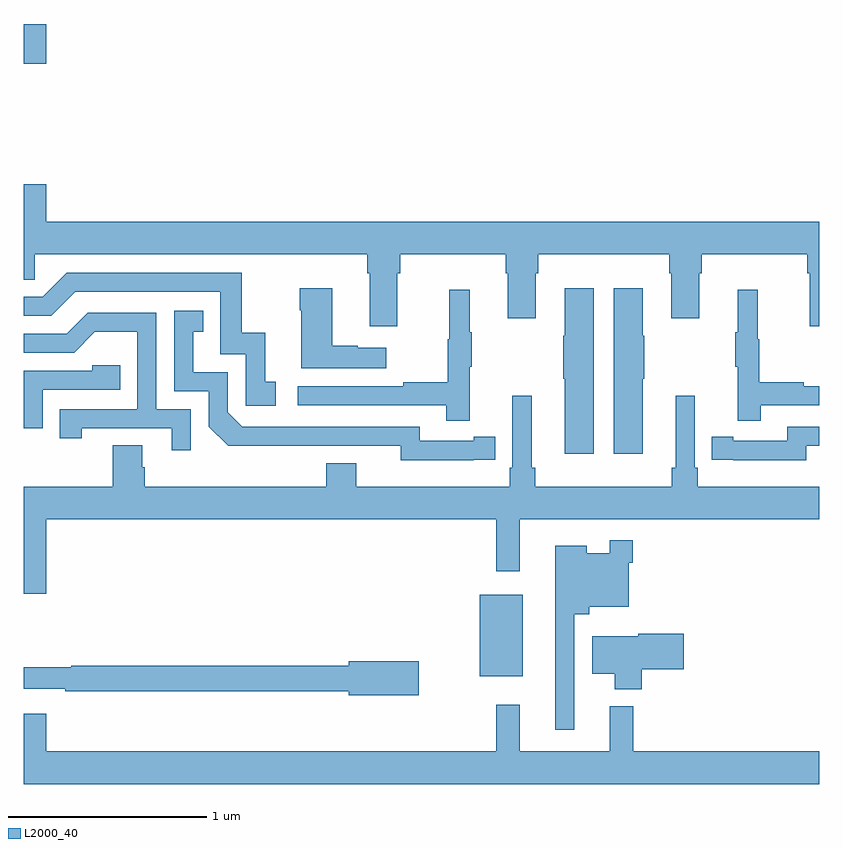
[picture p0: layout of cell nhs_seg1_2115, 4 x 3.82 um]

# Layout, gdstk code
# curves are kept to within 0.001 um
import gdstk
lib = gdstk.Library(unit=1e-6, precision=1e-09)
def R(c, l, rs):  # rectangles x0, y0, x1, y1
    for r in rs: c.add(gdstk.rectangle(r[:2], r[2:], *l))
def P(c, l, *ps):  # polygons
    for p in ps: c.add(gdstk.Polygon(p, *l))
L2000_40 = (2000, 40)

nhs_seg1_2115 = lib.new_cell('nhs_seg1_2115')
R(nhs_seg1_2115, L2000_40, [(227.294,574.919,227.509,575.329), (225,577.998,225.112,578.199)])
P(nhs_seg1_2115, L2000_40, [(226.879,576.944),(226.892,576.944),(226.892,577.04),(227.423,577.04),(227.423,576.944),(227.435,576.944),(227.435,576.72),(227.575,576.72),(227.575,576.944),(227.588,576.944),(227.588,577.04),(228.245,577.04),(228.245,576.944),(228.257,576.944),(228.257,576.72),(228.397,576.72),(228.397,576.944),(228.41,576.944),(228.41,577.04),(228.941,577.04),(228.941,576.944),(228.953,576.944),(228.953,576.678),(229,576.678),(229,577.204),(225.112,577.204),(225.112,577.393),(225,577.393),(225,576.913),(225.054,576.913),(225.054,577.04),(226.727,577.04),(226.727,576.944),(226.739,576.944),(226.739,576.678),(226.879,576.678)],
  [(226.267,576.399),(226.214,576.399),(226.214,576.646),(226.096,576.646),(226.096,576.948),(225.216,576.948),(225.096,576.828),(225,576.828),(225,576.732),(225.138,576.732),(225.258,576.852),(225.987,576.852),(225.987,576.537),(226.116,576.537),(226.116,576.279),(226.267,576.279)],
  [(228.112,576.415),(228.12,576.415),(228.12,576.632),(228.112,576.632),(228.112,576.871),(227.966,576.871),(227.966,576.036),(228.112,576.036)],
  [(227.866,576.871),(227.72,576.871),(227.72,576.632),(227.713,576.632),(227.713,576.415),(227.72,576.415),(227.72,576.036),(227.866,576.036)],
  [(226.822,576.571),(226.679,576.571),(226.679,576.581),(226.552,576.581),(226.552,576.871),(226.387,576.871),(226.387,576.758),(226.394,576.758),(226.394,576.467),(226.822,576.467)],
  [(228.707,576.282),(229,576.282),(229,576.378),(228.923,576.378),(228.923,576.398),(228.7,576.398),(228.7,576.612),(228.692,576.612),(228.692,576.862),(228.59,576.862),(228.59,576.649),(228.579,576.649),(228.579,576.475),(228.59,576.475),(228.59,576.204),(228.707,576.204)],
  [(227.243,576.475),(227.254,576.475),(227.254,576.649),(227.243,576.649),(227.243,576.862),(227.14,576.862),(227.14,576.612),(227.133,576.612),(227.133,576.398),(226.909,576.398),(226.909,576.378),(226.377,576.378),(226.377,576.282),(227.125,576.282),(227.125,576.204),(227.243,576.204)],
  [(227.264,576.006),(227.372,576.006),(227.372,576.122),(227.264,576.122),(227.264,576.102),(226.992,576.102),(226.992,576.174),(226.098,576.174),(226.026,576.246),(226.026,576.447),(225.853,576.447),(225.853,576.651),(225.902,576.651),(225.902,576.757),(225.756,576.757),(225.756,576.351),(225.93,576.351),(225.93,576.174),(226.028,576.077),(226.896,576.078),(226.896,576.005)],
  [(225.84,576.261),(225.666,576.261),(225.666,576.747),(225.32,576.747),(225.215,576.642),(225,576.642),(225,576.546),(225.252,576.546),(225.356,576.65),(225.57,576.65),(225.57,576.261),(225.181,576.261),(225.181,576.114),(225.292,576.114),(225.292,576.165),(225.743,576.165),(225.743,576.054),(225.84,576.054)],
  [(225.096,576.36),(225.485,576.36),(225.485,576.483),(225.345,576.483),(225.345,576.456),(225,576.456),(225,576.165),(225.096,576.165)],
  [(225.112,575.708),(227.377,575.708),(227.377,575.445),(227.494,575.445),(227.494,575.708),(229,575.708),(229,575.872),(228.389,575.872),(228.389,575.968),(228.375,575.968),(228.375,576.328),(228.278,576.328),(228.278,575.968),(228.259,575.968),(228.259,575.872),(227.573,575.872),(227.573,575.968),(227.554,575.968),(227.554,576.328),(227.457,576.328),(227.457,575.968),(227.444,575.968),(227.444,575.872),(226.672,575.872),(226.672,575.989),(226.52,575.989),(226.52,575.872),(225.608,575.872),(225.608,575.97),(225.595,575.97),(225.595,576.08),(225.448,576.08),(225.448,575.872),(225,575.872),(225,575.334),(225.112,575.334)],
  [(228.936,576.078),(229,576.078),(229,576.174),(228.84,576.174),(228.84,576.102),(228.568,576.102),(228.568,576.122),(228.46,576.122),(228.46,576.006),(228.568,576.006),(228.568,576.005),(228.936,576.005)],
  [(227.769,575.231),(227.843,575.231),(227.843,575.267),(228.042,575.267),(228.042,575.489),(228.062,575.489),(228.062,575.602),(227.946,575.602),(227.946,575.536),(227.83,575.536),(227.83,575.575),(227.672,575.575),(227.672,574.65),(227.769,574.65)],
  [(228.107,574.954),(228.319,574.954),(228.319,575.132),(228.09,575.132),(228.09,575.119),(227.858,575.119),(227.858,574.931),(227.972,574.931),(227.972,574.853),(228.107,574.853)],
  [(226.987,574.994),(226.634,574.994),(226.634,574.97),(225.238,574.97),(225.238,574.963),(225,574.963),(225,574.854),(225.208,574.854),(225.208,574.842),(226.634,574.842),(226.634,574.823),(226.987,574.823)],
  [(229,574.54),(228.065,574.54),(228.065,574.768),(227.948,574.768),(227.948,574.54),(227.495,574.54),(227.495,574.774),(227.377,574.774),(227.377,574.54),(225.112,574.54),(225.112,574.729),(225,574.729),(225,574.376),(229,574.376)])

lib.write_gds('nhs_seg1_2115.gds')
